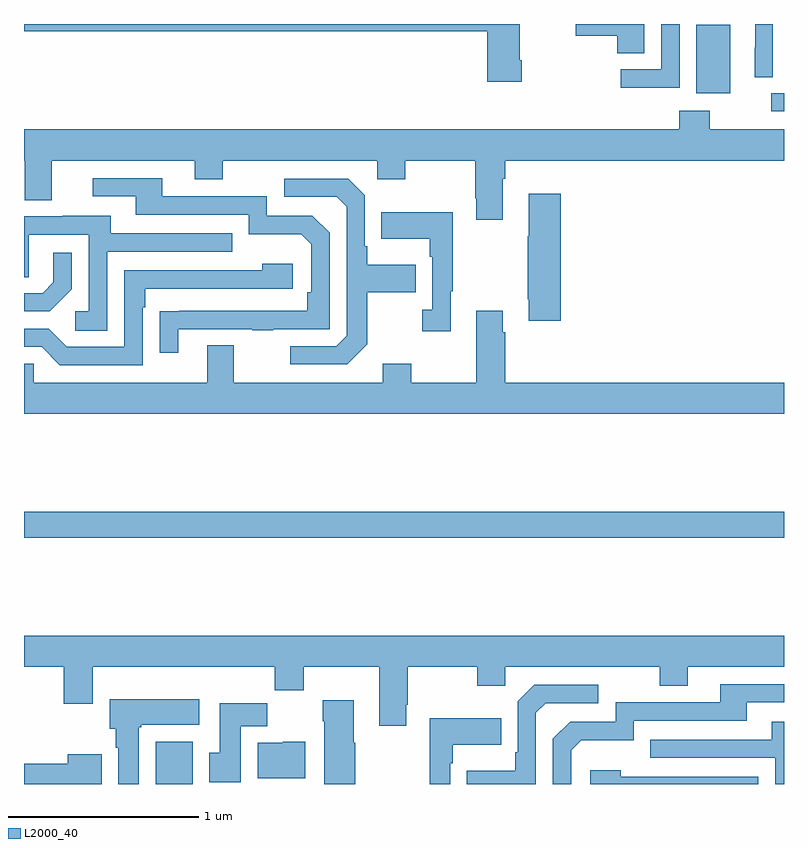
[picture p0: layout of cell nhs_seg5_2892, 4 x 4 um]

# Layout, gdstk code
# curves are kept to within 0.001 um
import gdstk
lib = gdstk.Library(unit=1e-6, precision=1e-09)
def R(c, l, rs):  # rectangles x0, y0, x1, y1
    for r in rs: c.add(gdstk.rectangle(r[:2], r[2:], *l))
def P(c, l, *ps):  # polygons
    for p in ps: c.add(gdstk.Polygon(p, *l))
L2000_40 = (2000, 40)

nhs_seg5_2892 = lib.new_cell('nhs_seg5_2892')
R(nhs_seg5_2892, L2000_40, [(279.693,866.799,279.889,867.022), (279,868.096,283,868.232), (282.933,870.339,283,870.435), (282.539,870.434,282.718,870.795)])
P(nhs_seg5_2892, L2000_40, [(282.265,870.799),(281.904,870.799),(281.904,870.737),(282.122,870.737),(282.122,870.646),(282.265,870.646)],
  [(281.621,870.607),(281.608,870.607),(281.608,870.799),(279,870.799),(279,870.76),(281.438,870.76),(281.438,870.495),(281.621,870.495)],
  [(282.942,870.799),(282.846,870.799),(282.848,870.797),(282.848,870.674),(282.846,870.674),(282.846,870.52),(282.942,870.52)],
  [(282.45,870.799),(282.354,870.799),(282.354,870.561),(282.141,870.561),(282.141,870.463),(282.45,870.463)],
  [(281.521,869.984),(281.534,869.984),(281.534,870.08),(283,870.08),(283,870.244),(282.609,870.244),(282.609,870.343),(282.449,870.343),(282.449,870.244),(279,870.244),(279,870.08),(279.005,870.08),(279.005,869.872),(279.145,869.872),(279.145,870.08),(279.899,870.08),(279.899,869.981),(280.047,869.981),(280.047,870.08),(280.86,870.08),(280.86,869.981),(281.007,869.981),(281.007,870.08),(281.374,870.08),(281.374,869.881),(281.381,869.881),(281.381,869.769),(281.521,869.769)],
  [(279.811,869.193),(280.201,869.193),(280.201,869.188),(280.313,869.188),(280.313,869.193),(280.608,869.193),(280.608,869.7),(280.518,869.79),(280.278,869.79),(280.278,869.892),(279.727,869.892),(279.727,869.988),(279.363,869.988),(279.363,869.892),(279.587,869.892),(279.587,869.796),(280.182,869.796),(280.182,869.693),(280.459,869.693),(280.512,869.64),(280.512,869.386),(280.492,869.386),(280.492,869.289),(279.715,869.288),(279.715,869.07),(279.811,869.07)],
  [(280.807,869.113),(280.807,869.386),(281.063,869.386),(281.063,869.533),(280.807,869.533),(280.807,869.629),(280.794,869.629),(280.794,869.898),(280.707,869.985),(280.371,869.985),(280.371,869.889),(280.647,869.889),(280.698,869.838),(280.698,869.157),(280.644,869.103),(280.401,869.103),(280.401,869.007),(280.701,869.007)],
  [(281.825,869.905),(281.657,869.905),(281.657,869.681),(281.65,869.681),(281.65,869.35),(281.657,869.35),(281.657,869.238),(281.825,869.238)],
  [(281.245,869.393),(281.257,869.393),(281.257,869.809),(280.879,869.809),(280.879,869.669),(281.136,869.669),(281.136,869.573),(281.148,869.573),(281.148,869.294),(281.097,869.294),(281.097,869.181),(281.245,869.181)],
  [(279.438,869.601),(280.097,869.601),(280.097,869.697),(279.457,869.697),(279.457,869.791),(279.203,869.791),(279.203,869.787),(279,869.787),(279,869.467),(279.024,869.467),(279.024,869.691),(279.342,869.691),(279.342,869.286),(279.27,869.286),(279.27,869.185),(279.438,869.185)],
  [(279.252,869.402),(279.252,869.596),(279.155,869.596),(279.155,869.439),(279.098,869.382),(279,869.382),(279,869.286),(279.136,869.286)],
  [(279.624,869.309),(279.637,869.309),(279.637,869.406),(280.414,869.406),(280.414,869.536),(280.253,869.536),(280.253,869.502),(279.528,869.502),(279.528,869.1),(279.225,869.1),(279.129,869.196),(279,869.196),(279,869.1),(279.093,869.1),(279.189,869.004),(279.624,869.004)],
  [(283,868.912),(281.534,868.912),(281.534,869.177),(281.521,869.177),(281.521,869.29),(281.381,869.29),(281.381,868.912),(281.037,868.912),(281.037,869.011),(280.889,869.011),(280.889,868.912),(280.105,868.912),(280.105,869.107),(279.965,869.107),(279.965,868.912),(279.051,868.912),(279.051,869.01),(279,869.01),(279,868.748),(283,868.748)],
  [(281.011,867.217),(281.019,867.217),(281.019,867.416),(281.386,867.416),(281.386,867.317),(281.532,867.317),(281.532,867.416),(282.346,867.416),(282.346,867.317),(282.493,867.317),(282.493,867.416),(283,867.416),(283,867.58),(279,867.58),(279,867.416),(279.209,867.416),(279.209,867.222),(279.361,867.222),(279.361,867.416),(280.321,867.416),(280.321,867.292),(280.473,867.292),(280.473,867.416),(280.871,867.416),(280.871,867.105),(281.011,867.105)],
  [(281.88,866.976),(281.933,867.029),(282.21,867.029),(282.21,867.132),(282.805,867.132),(282.805,867.228),(283,867.228),(283,867.324),(282.665,867.324),(282.665,867.228),(282.114,867.228),(282.114,867.126),(281.874,867.126),(281.784,867.036),(281.784,866.799),(281.88,866.799)],
  [(281.694,867.174),(281.745,867.225),(282.022,867.225),(282.022,867.321),(281.685,867.321),(281.598,867.234),(281.598,866.965),(281.586,866.965),(281.586,866.869),(281.329,866.869),(281.329,866.799),(281.694,866.799)],
  [(279.604,867.097),(279.618,867.097),(279.618,867.11),(279.922,867.11),(279.922,867.244),(279.452,867.244),(279.452,867.09),(279.482,867.09),(279.482,866.99),(279.497,866.99),(279.497,866.799),(279.604,866.799)],
  [(280.743,867.017),(280.735,867.017),(280.735,867.241),(280.573,867.241),(280.573,867.128),(280.58,867.128),(280.58,866.799),(280.743,866.799)],
  [(280.141,867.104),(280.28,867.104),(280.28,867.223),(280.031,867.223),(280.031,866.964),(279.974,866.964),(279.974,866.808),(280.141,866.808)],
  [(281.244,866.909),(281.257,866.909),(281.257,867.005),(281.513,867.005),(281.513,867.145),(281.136,867.145),(281.136,866.799),(281.244,866.799)],
  [(283,867.127),(282.935,867.127),(282.935,867.033),(282.295,867.033),(282.295,866.937),(282.954,866.937),(282.954,866.799),(283,866.799)],
  [(280.48,867.022),(280.362,867.022),(280.362,867.016),(280.229,867.016),(280.229,866.828),(280.48,866.828)],
  [(279.409,866.956),(279.23,866.956),(279.23,866.906),(279,866.906),(279,866.799),(279.409,866.799)],
  [(282.864,866.838),(282.14,866.838),(282.14,866.872),(281.979,866.872),(281.979,866.799),(282.864,866.799)])

lib.write_gds('nhs_seg5_2892.gds')
